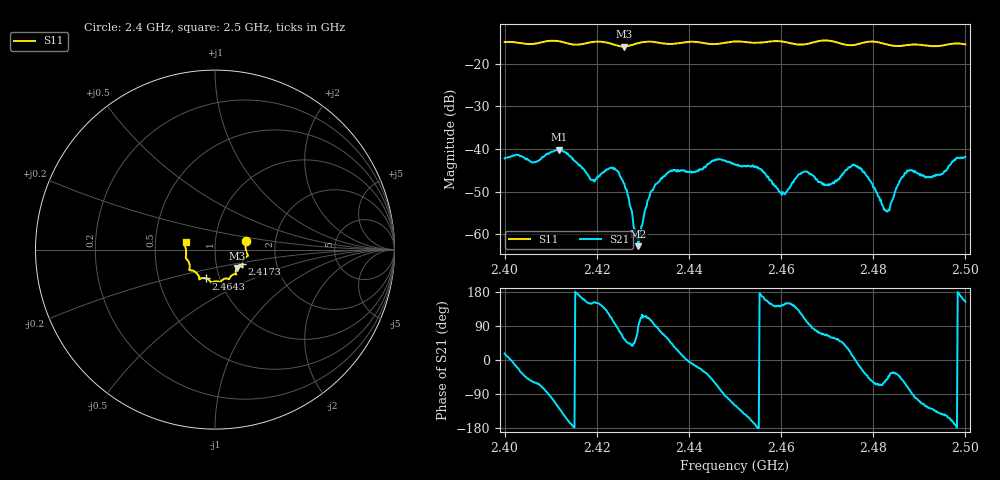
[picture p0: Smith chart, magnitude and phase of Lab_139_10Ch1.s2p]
# Hz S RI R 50
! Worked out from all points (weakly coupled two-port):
!   601 points, 2.4 GHz to 2.5 GHz, reference 50 ohm
!   highest |S21| = -40.20 dB at 2.4118 GHz (marker M1); lowest = -62.8 dB at 2.429 GHz (marker M2)
!   lowest |S11| = -15.9 dB at 2.4258 GHz (marker M3), VSWR 1.38, Z = 62.3 - j13.2 ohm
!   |S11| at or under -10 dB: start of sweep to end of sweep
!   S12 and S22 are empty: the file has one direction only
!   S11 on the Smith chart (normalised r, x): 2.4 GHz: 1.41, +0.14; 2.4173 GHz: 1.34, -0.23; 2.4643 GHz: 0.86, -0.28; 2.5 GHz: 0.72, +0.06
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2.4e9  0.1733 0.0493  0.00741 0.0023  0 0  0 0
2.411833e9  0.1805 -0.0369  -0.006 -0.00771  0 0  0 0
2.416667e9  0.1527 -0.0744  -0.00595 0.00168  0 0  0 0
2.417333e9  0.1521 -0.0817  -0.00524 0.00205  0 0  0 0
2.419167e9  0.1537 -0.0954  -0.00372 0.00208  0 0  0 0
2.4235e9  0.1413 -0.0939  -0.00135 0.00579  0 0  0 0
2.425833e9  0.1216 -0.1036  0.00212 0.00332  0 0  0 0
2.429e9  0.1159 -0.1312  6.48e-06 0.000721  0 0  0 0
2.4315e9  0.119 -0.1385  -0.0008 0.00271  0 0  0 0
2.433333e9  0.1129 -0.1369  0.000523 0.00401  0 0  0 0
2.446e9  0.0479 -0.1644  0.00313 -0.00687  0 0  0 0
2.45e9  0.0295 -0.1809  -0.00327 -0.00566  0 0  0 0
2.455333e9  -0.00107 -0.1771  -0.00584 0.000347  0 0  0 0
2.460333e9  -0.0241 -0.1811  -0.00258 0.00176  0 0  0 0
2.464333e9  -0.05 -0.1606  -0.00271 0.00447  0 0  0 0
2.466667e9  -0.0758 -0.1596  0.000441 0.00492  0 0  0 0
2.470333e9  -0.0872 -0.1656  0.00168 0.00334  0 0  0 0
2.476167e9  -0.1183 -0.119  0.00633 -0.000144  0 0  0 0
2.483333e9  -0.1407 -0.0899  0.00144 -0.00129  0 0  0 0
2.487333e9  -0.157 -0.0542  0.00198 -0.00521  0 0  0 0
2.492667e9  -0.1608 -0.0178  -0.00295 -0.00372  0 0  0 0
2.5e9  -0.1638 0.0421  -0.00727 0.00359  0 0  0 0
